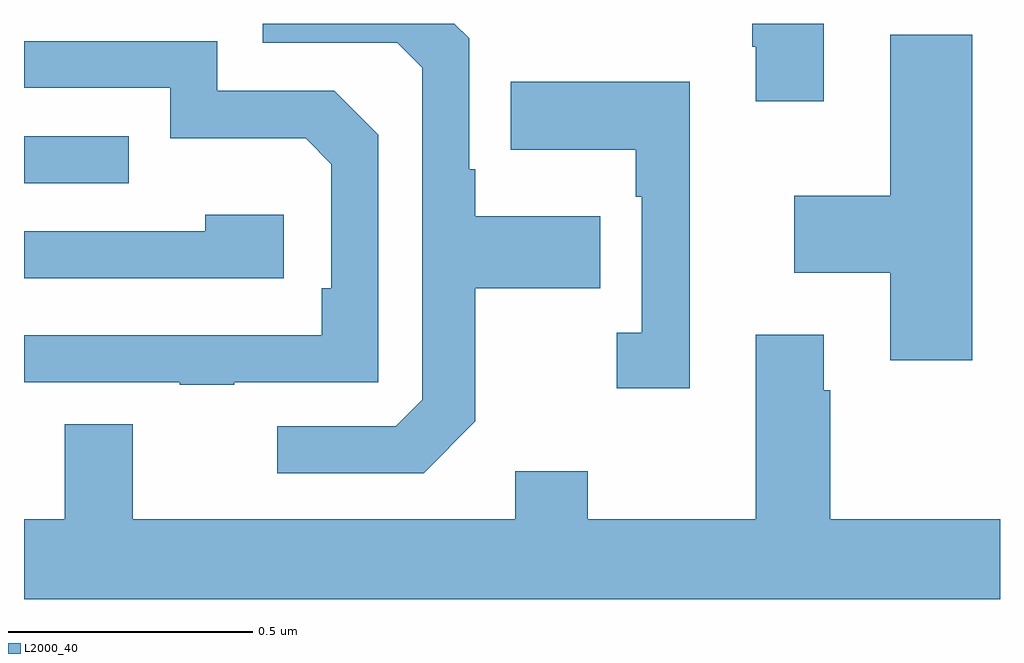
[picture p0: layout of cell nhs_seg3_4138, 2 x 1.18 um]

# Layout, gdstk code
import gdstk
lib = gdstk.Library(unit=1e-6, precision=1e-09)
def R(c, l, rs):  # rectangles x0, y0, x1, y1
    for r in rs: c.add(gdstk.rectangle(r[:2], r[2:], *l))
def P(c, l, *ps):  # polygons
    for p in ps: c.add(gdstk.Polygon(p, *l))
L2000_40 = (2000, 40)

nhs_seg3_4138 = lib.new_cell('nhs_seg3_4138')
R(nhs_seg3_4138, L2000_40, [(162,731.073,162.215,731.169)])
P(nhs_seg3_4138, L2000_40, [(163.639,731.4),(163.492,731.4),(163.492,731.353),(163.499,731.353),(163.499,731.241),(163.639,731.241)],
  [(162.925,730.585),(162.925,730.858),(163.181,730.858),(163.181,731.005),(162.925,731.005),(162.925,731.101),(162.912,731.101),(162.912,731.37),(162.882,731.4),(162.489,731.4),(162.489,731.361),(162.765,731.361),(162.816,731.31),(162.816,730.629),(162.762,730.575),(162.519,730.575),(162.519,730.479),(162.819,730.479)],
  [(163.943,731.377),(163.775,731.377),(163.775,731.047),(163.578,731.047),(163.578,730.889),(163.775,730.889),(163.775,730.71),(163.943,730.71)],
  [(162.431,730.665),(162.726,730.665),(162.726,731.172),(162.636,731.262),(162.396,731.262),(162.396,731.364),(162,731.364),(162,731.268),(162.3,731.268),(162.3,731.165),(162.577,731.165),(162.63,731.112),(162.63,730.858),(162.61,730.858),(162.61,730.761),(162,730.761),(162,730.665),(162.319,730.665),(162.319,730.66),(162.431,730.66)],
  [(163.364,731.281),(162.997,731.281),(162.997,731.141),(163.254,731.141),(163.254,731.045),(163.266,731.045),(163.266,730.766),(163.215,730.766),(163.215,730.653),(163.364,730.653)],
  [(162.532,731.008),(162.371,731.008),(162.371,730.974),(162,730.974),(162,730.878),(162.532,730.878)],
  [(164,730.384),(163.652,730.384),(163.652,730.649),(163.639,730.649),(163.639,730.762),(163.499,730.762),(163.499,730.384),(163.155,730.384),(163.155,730.483),(163.007,730.483),(163.007,730.384),(162.223,730.384),(162.223,730.579),(162.083,730.579),(162.083,730.384),(162,730.384),(162,730.22),(164,730.22)])

lib.write_gds('nhs_seg3_4138.gds')
